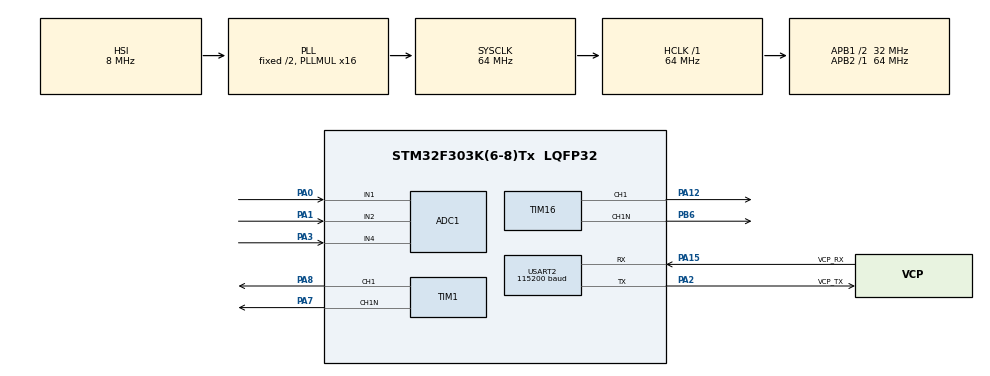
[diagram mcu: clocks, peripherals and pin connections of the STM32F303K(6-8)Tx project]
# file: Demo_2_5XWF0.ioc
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ADC1.Channel-0\#ChannelRegularConversion=ADC_CHANNEL_1
ADC1.Channel-1\#ChannelRegularConversion=ADC_CHANNEL_2
ADC1.Channel-2\#ChannelRegularConversion=ADC_CHANNEL_4
ADC1.ClockPrescaler=ADC_CLOCK_SYNC_PCLK_DIV1
ADC1.ContinuousConvMode=DISABLE
ADC1.DMAContinuousRequests=ENABLE
ADC1.ExternalTrigConv=ADC_EXTERNALTRIGCONV_T1_TRGO
ADC1.NbrOfConversion=3
ADC1.NbrOfConversionFlag=1
ADC1.Offset-0\#ChannelRegularConversion=0
ADC1.Offset-1\#ChannelRegularConversion=0
ADC1.Offset-2\#ChannelRegularConversion=0
ADC1.OffsetNumber-0\#ChannelRegularConversion=ADC_OFFSET_NONE
ADC1.OffsetNumber-1\#ChannelRegularConversion=ADC_OFFSET_NONE
ADC1.OffsetNumber-2\#ChannelRegularConversion=ADC_OFFSET_NONE
ADC1.Rank-0\#ChannelRegularConversion=1
ADC1.Rank-1\#ChannelRegularConversion=2
ADC1.Rank-2\#ChannelRegularConversion=3
ADC1.SamplingTime-0\#ChannelRegularConversion=ADC_SAMPLETIME_1CYCLE_5
ADC1.SamplingTime-1\#ChannelRegularConversion=ADC_SAMPLETIME_1CYCLE_5
ADC1.SamplingTime-2\#ChannelRegularConversion=ADC_SAMPLETIME_1CYCLE_5
ADC1.SubFamily=STM32F303x8
ADC1.master=1
Dma.ADC1.0.Direction=DMA_PERIPH_TO_MEMORY
Dma.ADC1.0.Instance=DMA1_Channel1
Dma.ADC1.0.MemDataAlignment=DMA_MDATAALIGN_WORD
Dma.ADC1.0.MemInc=DMA_MINC_ENABLE
Dma.ADC1.0.Mode=DMA_CIRCULAR
Dma.ADC1.0.PeriphDataAlignment=DMA_PDATAALIGN_WORD
Dma.ADC1.0.PeriphInc=DMA_PINC_DISABLE
Dma.ADC1.0.Priority=DMA_PRIORITY_LOW
Dma.Request0=ADC1
Mcu.Family=STM32F3
Mcu.Name=STM32F303K(6-8)Tx
Mcu.Package=LQFP32
NVIC.DMA1_Channel1_IRQn=true\:0\:0\:false\:false\:true\:false\:true\:true
NVIC.PriorityGroup=NVIC_PRIORITYGROUP_4
PA0.Mode=IN1-Single-Ended
PA0.Signal=ADC1_IN1
PA1.Mode=IN2-Single-Ended
PA1.Signal=ADC1_IN2
PA12.Signal=S_TIM16_CH1
PA13.GPIO_Label=SWDIO
PA13.Mode=Serial_Wire
PA13.Signal=SYS_JTMS-SWDIO
PA14.GPIO_Label=SWCLK
PA14.Mode=Serial_Wire
PA14.Signal=SYS_JTCK-SWCLK
PA15.GPIO_Label=VCP_RX
PA15.Mode=Asynchronous
PA15.Signal=USART2_RX
PA2.GPIO_Label=VCP_TX
PA2.Mode=Asynchronous
PA2.Signal=USART2_TX
PA3.Mode=IN4-Single-Ended
PA3.Signal=ADC1_IN4
PA7.Mode=PWM Generation1 CH1 CH1N
PA7.Signal=TIM1_CH1N
PA8.Signal=S_TIM1_CH1
PB6.Mode=PWM Generation1 CH1 CH1N
PB6.Signal=TIM16_CH1N
PF0\ /\ OSC_IN.GPIO_Label=MCO
PF0\ /\ OSC_IN.Mode=HSE-External-Clock-Source
PF0\ /\ OSC_IN.Signal=RCC_OSC_IN
ProjectManager.HeapSize=0x200
ProjectManager.StackSize=0x400
ProjectManager.TargetToolchain=STM32CubeIDE
RCC.AHBFreq_Value=64000000
RCC.APB1CLKDivider=RCC_HCLK_DIV2
RCC.APB1Freq_Value=32000000
RCC.APB1TimFreq_Value=64000000
RCC.APB2Freq_Value=64000000
RCC.APB2TimFreq_Value=64000000
RCC.CortexFreq_Value=64000000
RCC.HCLKFreq_Value=64000000
RCC.HSE_VALUE=8000000
RCC.HSI_VALUE=8000000
RCC.PLLMUL=RCC_PLL_MUL16
RCC.SYSCLKFreq_VALUE=64000000
RCC.SYSCLKSourceVirtual=RCC_SYSCLKSOURCE_PLLCLK
SH.S_TIM16_CH1.0=TIM16_CH1,PWM Generation1 CH1 CH1N
SH.S_TIM1_CH1.0=TIM1_CH1,PWM Generation1 CH1 CH1N
TIM1.Channel-PWM\ Generation1\ CH1\ CH1N=TIM_CHANNEL_1
TIM1.CounterMode=TIM_COUNTERMODE_CENTERALIGNED1
TIM1.RepetitionCounter=1
TIM1.TIM_MasterOutputTrigger=TIM_TRGO_UPDATE
TIM16.Channel=TIM_CHANNEL_1
TIM16.DeadTime=10
TIM16.OCMode_PWM=TIM_OCMODE_PWM1
USART2.BaudRate=115200
USART2.VirtualMode-Asynchronous=VM_ASYNC
VP_TIM16_VS_ClockSourceINT.Mode=Enable_Timer
VP_TIM1_VS_ClockSourceINT.Mode=Internal
board=NUCLEO-F303K8

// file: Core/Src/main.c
/* USER CODE BEGIN Header */
/**
  ******************************************************************************
  * @file           : main.c
  * @brief          : Main program body
  ******************************************************************************
  * @attention
  *
  * Copyright (c) 2022 STMicroelectronics.
  * All rights reserved.
  *
  * This software is licensed under terms that can be found in the LICENSE file
  * in the root directory of this software component.
  * If no LICENSE file comes with this software, it is provided AS-IS.
  *
  ******************************************************************************
  */
/* USER CODE END Header */
#include "main.h"

/* USER CODE BEGIN Includes */
#include "stdlib.h"
#include "stdio.h"
#include "string.h"
/* USER CODE END Includes */

ADC_HandleTypeDef hadc1;
DMA_HandleTypeDef hdma_adc1;

TIM_HandleTypeDef htim1;
TIM_HandleTypeDef htim16;

UART_HandleTypeDef huart2;

/* USER CODE BEGIN PV */
// UART
uint8_t TxStartMessage[] = "\r\n***** Example 2 - 5XWF0 *****\r\n";

// ADC
uint32_t ADC_Buff[3];
uint32_t adc_val_1;
uint32_t adc_val_2;
uint32_t adc_val_3;
float meas_volt_1 = 0.0f;
float meas_volt_2 = 0.0f;
float meas_volt_3 = 0.0f;

float n_eff = 1; 		//Efficiency

// PWM DC
uint32_t PWM_Freq_DC = 60000;
float PWM_DutyC_DC = 50;
int32_t PWM_Period_DC;
int32_t PWM_PulseWidth_DC;

// PWM AC
uint32_t PWM_Freq_AC = 34000*2;		//Weird why *2 but the output AC is half freq
//34000*2 almost has AC V and I in phase at 10cm
//33900*2 gives 51W OUTPUT,	5.78A,	30V,	171W INPUT
//32300*2 gives 27W OUTPUT, 2.7A,	 30V, 81W INPUT
//32600*2 gives 40W OUTPUT, 4A/4.5A	, 30V,	120W-135W INPUT
float PWM_DutyC_AC = 50;
int32_t PWM_Period_AC;
int32_t PWM_PulseWidth_AC;

/* USER CODE END PV */

void SystemClock_Config(void);
static void MX_GPIO_Init(void);
static void MX_USART2_UART_Init(void);
static void MX_DMA_Init(void);
static void MX_ADC1_Init(void);
static void MX_TIM1_Init(void);
static void MX_TIM16_Init(void);
/* USER CODE BEGIN PFP */
float MPPT(float * I, float * V, float * P, float D);
/* USER CODE END PFP */

/* USER CODE BEGIN 0 */
#ifdef __GNUC__
    #define PUTCHAR_PROTOTYPE int __io_putchar(int ch)
#else
    #define PUTCHAR_PROTOTYPE int fputc(int ch,FILE *f)
#endif

PUTCHAR_PROTOTYPE
{
    HAL_UART_Transmit(&huart2, (uint8_t *)&ch, 1, 0xFFF);

    return ch;
}

/* USER CODE END 0 */

int main(void)
{

  /* MCU Configuration--------------------------------------------------------*/

  /* Reset of all peripherals, Initializes the Flash interface and the Systick. */
  HAL_Init();

  /* Configure the system clock */
  SystemClock_Config();

  /* Initialize all configured peripherals */
  MX_GPIO_Init();
  MX_USART2_UART_Init();
  MX_DMA_Init();
  MX_ADC1_Init();
  MX_TIM1_Init();
  MX_TIM16_Init();
  /* USER CODE BEGIN 2 */

  printf("%s",TxStartMessage);

  //DC-AC PWM
  PWM_Period_AC = 64000000/(PWM_Freq_AC)-1;
  PWM_PulseWidth_AC = (int)((PWM_Period_AC*PWM_DutyC_AC)/100);

  __HAL_TIM_SET_AUTORELOAD(&htim1, PWM_Period_AC);
  __HAL_TIM_SET_COMPARE(&htim1, TIM_CHANNEL_1, PWM_PulseWidth_AC);
  HAL_TIM_PWM_Start(&htim1, TIM_CHANNEL_1);

//  HAL_TIMEx_PWMN_Start(&htim16, TIM_CHANNEL_1);			//TIM16 CH1N
  HAL_TIMEx_PWMN_Start(&htim1, TIM_CHANNEL_1);			//TIM1 CH1N

  //DC-DC PWM
  PWM_Period_DC = 64000000/(2*PWM_Freq_DC)-1;
  PWM_PulseWidth_DC = (int)((PWM_Period_DC*PWM_DutyC_DC)/100);

  __HAL_TIM_SET_AUTORELOAD(&htim16, PWM_Period_DC);
  __HAL_TIM_SET_COMPARE(&htim16, TIM_CHANNEL_1, PWM_PulseWidth_DC);
  HAL_TIM_PWM_Start(&htim16, TIM_CHANNEL_1);

  HAL_TIMEx_PWMN_Start(&htim16, TIM_CHANNEL_1);			//TIM1 CH1N

  //ADC Init
  HAL_ADCEx_Calibration_Start(&hadc1, ADC_SINGLE_ENDED);
  HAL_ADC_Start_DMA(&hadc1, (uint32_t*)ADC_Buff, 3);
  //MPPT

  float I_in = meas_volt_1;		// have to convert to Amps (look it up)
  float V_in = meas_volt_3;	// Starting value input voltage in V
  float P_in = I_in*V_in;

  /* USER CODE END 2 */

  /* Infinite loop */
  /* USER CODE BEGIN WHILE */

//  Take average measurement for initial dc duty cycle
//  int Duty_avg[10];
//
//  for (int i = 0; i < 10; i++)
//  {
//	  Duty_avg[i] = (1 - n_eff * ((meas_volt_3 * 18.18f) / 60)) * 100;
//  }
//
//  PWM_DutyC_DC = Duty_avg/10;

  while (1)
  {

	  printf("The new D again: %.2f\r\n", PWM_DutyC_DC);
	  // ADC Measurements

//	  PWM_DutyC_DC = meas_volt_1*11.1f;
//	  printf("ADC Voltage: %.2f V - Duty Cycle %d\r\n", meas_volt_1, (int)PWM_DutyC_DC);

	  // Creating PWM for DC-AC
	  PWM_PulseWidth_AC = (int)((PWM_Period_AC*PWM_DutyC_AC)/100);
	  __HAL_TIM_SET_COMPARE(&htim1, TIM_CHANNEL_1, PWM_PulseWidth_AC);

	  // Creating PWM for DC-DC
//	  PWM_DutyC_DC = MPPT(&I_in, &V_in, &P_in, PWM_DutyC_DC);	// MPPT
	  PWM_PulseWidth_DC = (int)((PWM_Period_DC*PWM_DutyC_DC)/100);
	  __HAL_TIM_SET_COMPARE(&htim16, TIM_CHANNEL_1, PWM_PulseWidth_DC);

	  printf("Test\r\n");
	  printf("Duty Cycle DC: %.2f\r\n", PWM_DutyC_DC);
	  printf("Duty Cycle AC: %.2f\r\n", PWM_DutyC_AC);
	  printf("ADC1/1: %.2f V\r\n", meas_volt_1);
	  printf("ADC1/2: %.2f V\r\n", meas_volt_2);
	  printf("DCDC Generator input: %.2f V\r\n", meas_volt_3);		//ADC1/4 DCDC GEN INPUT

	  HAL_Delay(100);

  }
    /* USER CODE END WHILE */

}

void SystemClock_Config(void)
{
  RCC_OscInitTypeDef RCC_OscInitStruct = {0};
  RCC_ClkInitTypeDef RCC_ClkInitStruct = {0};
  RCC_PeriphCLKInitTypeDef PeriphClkInit = {0};

  /** Initializes the RCC Oscillators according to the specified parameters
  * in the RCC_OscInitTypeDef structure.
  */
  RCC_OscInitStruct.OscillatorType = RCC_OSCILLATORTYPE_HSI;
  RCC_OscInitStruct.HSIState = RCC_HSI_ON;
  RCC_OscInitStruct.HSICalibrationValue = RCC_HSICALIBRATION_DEFAULT;
  RCC_OscInitStruct.PLL.PLLState = RCC_PLL_ON;
  RCC_OscInitStruct.PLL.PLLSource = RCC_PLLSOURCE_HSI;
  RCC_OscInitStruct.PLL.PLLMUL = RCC_PLL_MUL16;
  if (HAL_RCC_OscConfig(&RCC_OscInitStruct) != HAL_OK)
  {
    Error_Handler();
  }
  /** Initializes the CPU, AHB and APB buses clocks
  */
  RCC_ClkInitStruct.ClockType = RCC_CLOCKTYPE_HCLK|RCC_CLOCKTYPE_SYSCLK
                              |RCC_CLOCKTYPE_PCLK1|RCC_CLOCKTYPE_PCLK2;
  RCC_ClkInitStruct.SYSCLKSource = RCC_SYSCLKSOURCE_PLLCLK;
  RCC_ClkInitStruct.AHBCLKDivider = RCC_SYSCLK_DIV1;
  RCC_ClkInitStruct.APB1CLKDivider = RCC_HCLK_DIV2;
  RCC_ClkInitStruct.APB2CLKDivider = RCC_HCLK_DIV1;

  if (HAL_RCC_ClockConfig(&RCC_ClkInitStruct, FLASH_LATENCY_2) != HAL_OK)
  {
    Error_Handler();
  }
  PeriphClkInit.PeriphClockSelection = RCC_PERIPHCLK_TIM1;
  PeriphClkInit.Tim1ClockSelection = RCC_TIM1CLK_HCLK;
  if (HAL_RCCEx_PeriphCLKConfig(&PeriphClkInit) != HAL_OK)
  {
    Error_Handler();
  }
}

static void MX_ADC1_Init(void)
{

  ADC_MultiModeTypeDef multimode = {0};
  ADC_ChannelConfTypeDef sConfig = {0};

  /** Common config
  */
  hadc1.Instance = ADC1;
  hadc1.Init.ClockPrescaler = ADC_CLOCK_SYNC_PCLK_DIV1;
  hadc1.Init.Resolution = ADC_RESOLUTION_12B;
  hadc1.Init.ScanConvMode = ADC_SCAN_ENABLE;
  hadc1.Init.ContinuousConvMode = DISABLE;
  hadc1.Init.DiscontinuousConvMode = DISABLE;
  hadc1.Init.ExternalTrigConvEdge = ADC_EXTERNALTRIGCONVEDGE_RISING;
  hadc1.Init.ExternalTrigConv = ADC_EXTERNALTRIGCONV_T1_TRGO;
  hadc1.Init.DataAlign = ADC_DATAALIGN_RIGHT;
  hadc1.Init.NbrOfConversion = 3;
  hadc1.Init.DMAContinuousRequests = ENABLE;
  hadc1.Init.EOCSelection = ADC_EOC_SINGLE_CONV;
  hadc1.Init.LowPowerAutoWait = DISABLE;
  hadc1.Init.Overrun = ADC_OVR_DATA_OVERWRITTEN;
  if (HAL_ADC_Init(&hadc1) != HAL_OK)
  {
    Error_Handler();
  }
  /** Configure the ADC multi-mode
  */
  multimode.Mode = ADC_MODE_INDEPENDENT;
  if (HAL_ADCEx_MultiModeConfigChannel(&hadc1, &multimode) != HAL_OK)
  {
    Error_Handler();
  }
  /** Configure Regular Channel
  */
  sConfig.Channel = ADC_CHANNEL_1;
  sConfig.Rank = ADC_REGULAR_RANK_1;
  sConfig.SingleDiff = ADC_SINGLE_ENDED;
  sConfig.SamplingTime = ADC_SAMPLETIME_1CYCLE_5;
  sConfig.OffsetNumber = ADC_OFFSET_NONE;
  sConfig.Offset = 0;
  if (HAL_ADC_ConfigChannel(&hadc1, &sConfig) != HAL_OK)
  {
    Error_Handler();
  }
  /** Configure Regular Channel
  */
  sConfig.Channel = ADC_CHANNEL_2;
  sConfig.Rank = ADC_REGULAR_RANK_2;
  if (HAL_ADC_ConfigChannel(&hadc1, &sConfig) != HAL_OK)
  {
    Error_Handler();
  }
  /** Configure Regular Channel
  */
  sConfig.Channel = ADC_CHANNEL_4;
  sConfig.Rank = ADC_REGULAR_RANK_3;
  if (HAL_ADC_ConfigChannel(&hadc1, &sConfig) != HAL_OK)
  {
    Error_Handler();
  }

}

static void MX_TIM1_Init(void)
{

  TIM_ClockConfigTypeDef sClockSourceConfig = {0};
  TIM_MasterConfigTypeDef sMasterConfig = {0};
  TIM_OC_InitTypeDef sConfigOC = {0};
  TIM_BreakDeadTimeConfigTypeDef sBreakDeadTimeConfig = {0};

  htim1.Instance = TIM1;
  htim1.Init.Prescaler = 0;
  htim1.Init.CounterMode = TIM_COUNTERMODE_CENTERALIGNED1;
  htim1.Init.Period = 65535;
  htim1.Init.ClockDivision = TIM_CLOCKDIVISION_DIV1;
  htim1.Init.RepetitionCounter = 1;
  htim1.Init.AutoReloadPreload = TIM_AUTORELOAD_PRELOAD_DISABLE;
  if (HAL_TIM_Base_Init(&htim1) != HAL_OK)
  {
    Error_Handler();
  }
  sClockSourceConfig.ClockSource = TIM_CLOCKSOURCE_INTERNAL;
  if (HAL_TIM_ConfigClockSource(&htim1, &sClockSourceConfig) != HAL_OK)
  {
    Error_Handler();
  }
  if (HAL_TIM_PWM_Init(&htim1) != HAL_OK)
  {
    Error_Handler();
  }
  sMasterConfig.MasterOutputTrigger = TIM_TRGO_UPDATE;
  sMasterConfig.MasterOutputTrigger2 = TIM_TRGO2_RESET;
  sMasterConfig.MasterSlaveMode = TIM_MASTERSLAVEMODE_DISABLE;
  if (HAL_TIMEx_MasterConfigSynchronization(&htim1, &sMasterConfig) != HAL_OK)
  {
    Error_Handler();
  }
  sConfigOC.OCMode = TIM_OCMODE_PWM1;
  sConfigOC.Pulse = 0;
  sConfigOC.OCPolarity = TIM_OCPOLARITY_HIGH;
  sConfigOC.OCNPolarity = TIM_OCNPOLARITY_HIGH;
  sConfigOC.OCFastMode = TIM_OCFAST_DISABLE;
  sConfigOC.OCIdleState = TIM_OCIDLESTATE_RESET;
  sConfigOC.OCNIdleState = TIM_OCNIDLESTATE_RESET;
  if (HAL_TIM_PWM_ConfigChannel(&htim1, &sConfigOC, TIM_CHANNEL_1) != HAL_OK)
  {
    Error_Handler();
  }
  sBreakDeadTimeConfig.OffStateRunMode = TIM_OSSR_DISABLE;
  sBreakDeadTimeConfig.OffStateIDLEMode = TIM_OSSI_DISABLE;
  sBreakDeadTimeConfig.LockLevel = TIM_LOCKLEVEL_OFF;
  sBreakDeadTimeConfig.DeadTime = 0;
  sBreakDeadTimeConfig.BreakState = TIM_BREAK_DISABLE;
  sBreakDeadTimeConfig.BreakPolarity = TIM_BREAKPOLARITY_HIGH;
  sBreakDeadTimeConfig.BreakFilter = 0;
  sBreakDeadTimeConfig.Break2State = TIM_BREAK2_DISABLE;
  sBreakDeadTimeConfig.Break2Polarity = TIM_BREAK2POLARITY_HIGH;
  sBreakDeadTimeConfig.Break2Filter = 0;
  sBreakDeadTimeConfig.AutomaticOutput = TIM_AUTOMATICOUTPUT_DISABLE;
  if (HAL_TIMEx_ConfigBreakDeadTime(&htim1, &sBreakDeadTimeConfig) != HAL_OK)
  {
    Error_Handler();
  }
  HAL_TIM_MspPostInit(&htim1);

}

static void MX_TIM16_Init(void)
{

  TIM_OC_InitTypeDef sConfigOC = {0};
  TIM_BreakDeadTimeConfigTypeDef sBreakDeadTimeConfig = {0};

  htim16.Instance = TIM16;
  htim16.Init.Prescaler = 0;
  htim16.Init.CounterMode = TIM_COUNTERMODE_UP;
  htim16.Init.Period = 65535;
  htim16.Init.ClockDivision = TIM_CLOCKDIVISION_DIV1;
  htim16.Init.RepetitionCounter = 0;
  htim16.Init.AutoReloadPreload = TIM_AUTORELOAD_PRELOAD_DISABLE;
  if (HAL_TIM_Base_Init(&htim16) != HAL_OK)
  {
    Error_Handler();
  }
  if (HAL_TIM_PWM_Init(&htim16) != HAL_OK)
  {
    Error_Handler();
  }
  sConfigOC.OCMode = TIM_OCMODE_PWM1;
  sConfigOC.Pulse = 0;
  sConfigOC.OCPolarity = TIM_OCPOLARITY_HIGH;
  sConfigOC.OCNPolarity = TIM_OCNPOLARITY_HIGH;
  sConfigOC.OCFastMode = TIM_OCFAST_DISABLE;
  sConfigOC.OCIdleState = TIM_OCIDLESTATE_RESET;
  sConfigOC.OCNIdleState = TIM_OCNIDLESTATE_RESET;
  if (HAL_TIM_PWM_ConfigChannel(&htim16, &sConfigOC, TIM_CHANNEL_1) != HAL_OK)
  {
    Error_Handler();
  }
  sBreakDeadTimeConfig.OffStateRunMode = TIM_OSSR_DISABLE;
  sBreakDeadTimeConfig.OffStateIDLEMode = TIM_OSSI_DISABLE;
  sBreakDeadTimeConfig.LockLevel = TIM_LOCKLEVEL_OFF;
  sBreakDeadTimeConfig.DeadTime = 10;
  sBreakDeadTimeConfig.BreakState = TIM_BREAK_DISABLE;
  sBreakDeadTimeConfig.BreakPolarity = TIM_BREAKPOLARITY_HIGH;
  sBreakDeadTimeConfig.BreakFilter = 0;
  sBreakDeadTimeConfig.AutomaticOutput = TIM_AUTOMATICOUTPUT_DISABLE;
  if (HAL_TIMEx_ConfigBreakDeadTime(&htim16, &sBreakDeadTimeConfig) != HAL_OK)
  {
    Error_Handler();
  }
  HAL_TIM_MspPostInit(&htim16);

}

static void MX_USART2_UART_Init(void)
{

  huart2.Instance = USART2;
  huart2.Init.BaudRate = 115200;
  huart2.Init.WordLength = UART_WORDLENGTH_8B;
  huart2.Init.StopBits = UART_STOPBITS_1;
  huart2.Init.Parity = UART_PARITY_NONE;
  huart2.Init.Mode = UART_MODE_TX_RX;
  huart2.Init.HwFlowCtl = UART_HWCONTROL_NONE;
  huart2.Init.OverSampling = UART_OVERSAMPLING_16;
  huart2.Init.OneBitSampling = UART_ONE_BIT_SAMPLE_DISABLE;
  huart2.AdvancedInit.AdvFeatureInit = UART_ADVFEATURE_NO_INIT;
  if (HAL_UART_Init(&huart2) != HAL_OK)
  {
    Error_Handler();
  }

}

static void MX_DMA_Init(void)
{

  /* DMA controller clock enable */
  __HAL_RCC_DMA1_CLK_ENABLE();

  /* DMA interrupt init */
  /* DMA1_Channel1_IRQn interrupt configuration */
  HAL_NVIC_SetPriority(DMA1_Channel1_IRQn, 0, 0);
  HAL_NVIC_EnableIRQ(DMA1_Channel1_IRQn);

}

static void MX_GPIO_Init(void)
{

  /* GPIO Ports Clock Enable */
  __HAL_RCC_GPIOF_CLK_ENABLE();
  __HAL_RCC_GPIOA_CLK_ENABLE();
  __HAL_RCC_GPIOB_CLK_ENABLE();

}

/* USER CODE BEGIN 4 */

float MPPT(float * I, float * V, float * P, float D)
{
	const float DELTA_D = 0.01;
	// 1. Find new V and I
	float V_new = meas_volt_3;
	float I_new = meas_volt_1;
	// 2. Calculate new P
	float P_new = V_new * I_new;
	// 2. Compare new P versus old P

	if (P_new > *P)
	{
		if (V_new > *V) D += DELTA_D;
		else D -= DELTA_D;
	}
	else
	{
		if(V_new > *V) D -= DELTA_D;
		else D += DELTA_D;
	}

//	Boundary check for generating 60V
	if (meas_volt_2 * 21.5f > 60)
	{
		D = D - DELTA_D;
	}
	else if (meas_volt_2 * 21.5f < 60)
	{
		D = D + DELTA_D;
	}

	if (D < 0) D = 0;
	else if (D > 100) D = 100;

	// Set old values
	*P = P_new;
	*I = I_new;
	*V = V_new;
	printf("New D: %.2f\r\n", D);
	return D;
}

void HAL_ADC_ConvCpltCallback(ADC_HandleTypeDef* hadc)
{
	// Prevent unused argument(s) compilation warning
	UNUSED(hadc);

		adc_val_1 = ADC_Buff[0];	//DC-DC Current sensor output value
		adc_val_2 = ADC_Buff[1];	//DC-DC Voltage output value
		adc_val_3 = ADC_Buff[2];	//DC-DC Voltage input value

		meas_volt_1 = (((float)adc_val_1)/4095.0f)*3.3f;
		meas_volt_2 = (((float)adc_val_2)/4095.0f)*3.3f ;
		meas_volt_3 = (((float)adc_val_3)/4095.0f)*3.3f;
}

/* USER CODE END 4 */

void Error_Handler(void)
{
  __disable_irq();
  while (1)
  {
  }
}
